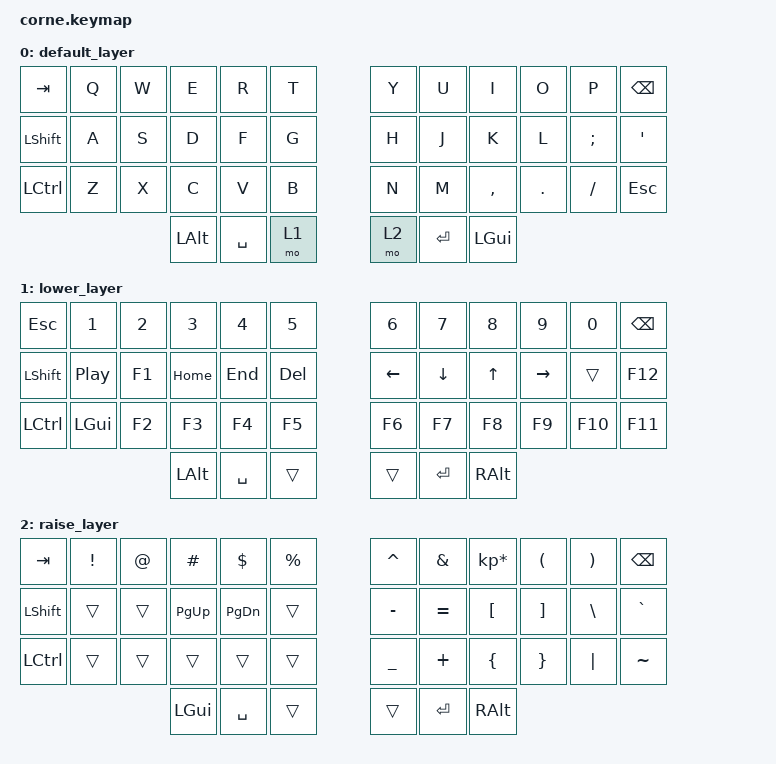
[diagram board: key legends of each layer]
/*
 * Copyright (c) 2020 The ZMK Contributors
 *
 * SPDX-License-Identifier: MIT
 */

#include <behaviors.dtsi>
#include <dt-bindings/zmk/keys.h>
#include <dt-bindings/zmk/bt.h>

/ {
        keymap {
                compatible = "zmk,keymap";

                default_layer {
// -----------------------------------------------------------------------------------------
// |  TAB |  Q  |  W  |  E  |  R  |  T  |   |  Y  |  U   |  I  |  O  |  P  | BKSP |
// | SHFT |  A  |  S  |  D  |  F  |  G  |   |  H  |  J   |  K  |  L  |  ;  |  '   |
// | CTRL |  Z  |  X  |  C  |  V  |  B  |   |  N  |  M   |  ,  |  .  |  /  | ESC  |
//                    | ALT | SPC | LWR |   | RSE | RET  | GUI |
                        bindings = <
   &kp TAB   &kp Q &kp W &kp E &kp R &kp T   &kp Y &kp U  &kp I     &kp O   &kp P    &kp BSPC
   &kp LSHFT &kp A &kp S &kp D &kp F &kp G   &kp H &kp J  &kp K     &kp L   &kp SEMI &kp SQT
   &kp LCTRL &kp Z &kp X &kp C &kp V &kp B   &kp N &kp M  &kp COMMA &kp DOT &kp FSLH &kp ESC
                  &kp LALT &kp SPACE &mo 1   &mo 2 &kp RET &kp LGUI
                        >;
                };
                
                lower_layer {
// -----------------------------------------------------------------------------------------
// |  ESC |  1  |  2  |  3  |  4  |  5  |   |  6  |  7  |  8  |  9  |  0  | BKSP |
// | SHFT | Play| F1  | HOM | END | DEL |   | LFT | DWN |  UP | RGT |     | F12  |
// | CTRL | GUI | F2  | F3  | F4  | F5  |   | F6  | F7  | F8  | F9  | F10 | F11  |
//                    | ALT | SPC |     |   |     | RET | ALT |
                        bindings = <
   &kp ESC    &kp N1       &kp N2       &kp N3       &kp N4       &kp N5         &kp N6   &kp N7   &kp N8 &kp N9    &kp N0 &kp BSPC
   &kp LSHFT  &kp C_PLAY_PAUSE     &kp F1       &kp HOME       &kp END       &kp DEL         &kp LEFT &kp DOWN &kp UP &kp RIGHT &trans &kp F12
   &kp LCTRL  &kp LGUI     &kp F2       &kp F3       &kp F4       &kp F5         &kp F6   &kp F7   &kp F8 &kp F9    &kp F10 &kp F11
                                        &kp LALT     &kp SPACE    &trans         &trans  &kp RET   &kp RALT
                        >;
                };

                raise_layer {
// -----------------------------------------------------------------------------------------
// |  TAB |  !  |  @  |  #  |  $  |  %  |   |  ^  |  &  |  *  |  (  |  )  | BKSP |
// | SHFT |     |     |PG_UP|PG_DN|     |   |  -  |  =  |  [  |  ]  |  \  |  `   |
// | CTRL |     |     |     |     |     |   |  _  |  +  |  {  |  }  | "|" |  ~   |
//                    | GUI | SPC |     |   |     | RET | ALT |
                        bindings = <
   &kp  TAB  &kp EXCL &kp AT &kp HASH &kp DLLR &kp PRCNT   &kp CARET &kp AMPS  &kp KP_MULTIPLY &kp LPAR &kp RPAR &kp BSPC
   &kp LSHFT &trans   &trans &kp PAGE_UP &kp PAGE_DOWN &trans      &kp MINUS &kp EQUAL &kp LBKT        &kp RBKT &kp BSLH &kp GRAVE
   &kp LCTRL &trans   &trans &trans   &trans   &trans      &kp UNDER &kp PLUS  &kp LBRC        &kp RBRC &kp PIPE &kp TILDE
                             &kp LGUI &kp SPACE   &trans   &trans   &kp RET    &kp RALT
                        >;
                };
        };
};
